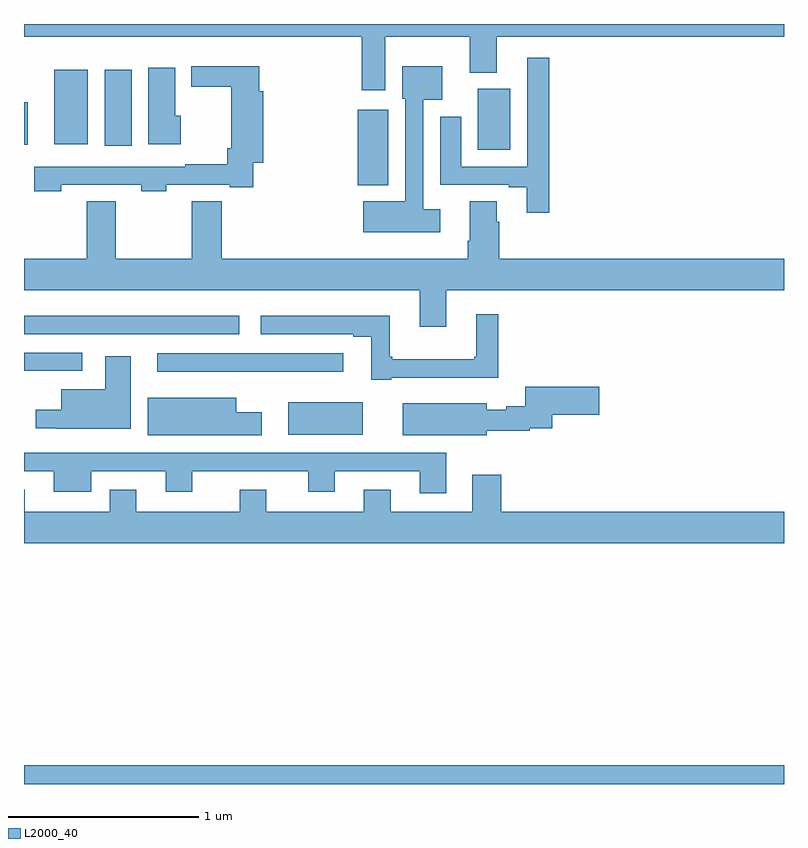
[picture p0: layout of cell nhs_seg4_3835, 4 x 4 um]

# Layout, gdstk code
import gdstk
lib = gdstk.Library(unit=1e-6, precision=1e-09)
def R(c, l, rs):  # rectangles x0, y0, x1, y1
    for r in rs: c.add(gdstk.rectangle(r[:2], r[2:], *l))
def P(c, l, *ps):  # polygons
    for p in ps: c.add(gdstk.Polygon(p, *l))
L2000_40 = (2000, 40)

nhs_seg4_3835 = lib.new_cell('nhs_seg4_3835')
R(nhs_seg4_3835, L2000_40, [(313,780.9,317,781), (314.39,782.738,314.782,782.908), (313.701,783.071,314.68,783.168), (313,783.075,313.306,783.171), (313,783.267,314.134,783.364), (314.756,784.052,314.917,784.45), (315.389,784.238,315.559,784.558), (313.424,784.26,313.567,784.66), (313,784.265,313.021,784.489), (313.16,784.268,313.336,784.66)])
P(nhs_seg4_3835, L2000_40, [(314.902,784.832),(315.347,784.832),(315.347,784.643),(315.487,784.643),(315.487,784.832),(317,784.832),(317,784.9),(313,784.9),(313,784.832),(314.777,784.832),(314.777,784.551),(314.902,784.551)],
  [(315.764,784.723),(315.648,784.723),(315.648,784.149),(315.301,784.149),(315.301,784.411),(315.191,784.411),(315.191,784.053),(315.551,784.053),(315.551,784.041),(315.647,784.041),(315.647,783.906),(315.764,783.906)],
  [(315.19,783.925),(315.102,783.925),(315.102,784.502),(315.202,784.502),(315.202,784.678),(314.99,784.678),(314.99,784.506),(315.006,784.506),(315.006,783.966),(314.786,783.966),(314.786,783.803),(315.19,783.803)],
  [(313.197,784.053),(313.617,784.053),(313.617,784.021),(313.749,784.021),(313.749,784.053),(314.084,784.053),(314.084,784.041),(314.207,784.041),(314.207,784.169),(314.258,784.169),(314.258,784.545),(314.237,784.545),(314.237,784.678),(313.881,784.678),(313.881,784.569),(314.09,784.569),(314.09,784.246),(314.071,784.246),(314.071,784.162),(313.849,784.162),(313.849,784.149),(313.053,784.149),(313.053,784.021),(313.197,784.021)],
  [(313.825,784.416),(313.795,784.416),(313.795,784.669),(313.655,784.669),(313.655,784.268),(313.825,784.268)],
  [(313.33,783.968),(313.33,783.664),(313,783.664),(313,783.5),(315.083,783.5),(315.083,783.306),(315.223,783.306),(315.223,783.5),(317,783.5),(317,783.664),(315.5,783.664),(315.5,783.86),(315.487,783.86),(315.487,783.968),(315.347,783.968),(315.347,783.76),(315.335,783.76),(315.335,783.664),(314.042,783.664),(314.042,783.968),(313.882,783.968),(313.882,783.664),(313.484,783.664),(313.484,783.968)],
  [(314.932,783.038),(315.497,783.038),(315.497,783.373),(315.38,783.373),(315.38,783.148),(315.369,783.148),(315.369,783.136),(314.938,783.136),(314.938,783.148),(314.926,783.148),(314.926,783.364),(314.247,783.364),(314.247,783.267),(314.732,783.267),(314.732,783.255),(314.828,783.255),(314.828,783.027),(314.932,783.027)],
  [(313.561,783.151),(313.427,783.151),(313.427,782.977),(313.196,782.977),(313.196,782.87),(313.063,782.87),(313.063,782.773),(313.171,782.773),(313.171,782.771),(313.561,782.771)],
  [(315.436,782.76),(315.662,782.76),(315.662,782.772),(315.779,782.772),(315.779,782.843),(316.027,782.843),(316.027,782.99),(315.638,782.99),(315.638,782.888),(315.537,782.888),(315.537,782.869),(315.436,782.869),(315.436,782.905),(314.993,782.905),(314.993,782.735),(315.436,782.735)],
  [(314.251,782.857),(314.116,782.857),(314.116,782.932),(313.652,782.932),(313.652,782.735),(314.251,782.735)],
  [(315.223,782.643),(313,782.643),(313,782.547),(313.157,782.547),(313.157,782.438),(313.354,782.438),(313.354,782.547),(313.745,782.547),(313.745,782.438),(313.885,782.438),(313.885,782.547),(314.495,782.547),(314.495,782.438),(314.635,782.438),(314.635,782.547),(315.083,782.547),(315.083,782.43),(315.223,782.43)],
  [(317,782.332),(315.512,782.332),(315.512,782.527),(315.359,782.527),(315.359,782.332),(314.929,782.332),(314.929,782.449),(314.789,782.449),(314.789,782.332),(314.275,782.332),(314.275,782.449),(314.135,782.449),(314.135,782.332),(313.591,782.332),(313.591,782.449),(313.451,782.449),(313.451,782.332),(313.003,782.332),(313.003,782.449),(313,782.449),(313,782.168),(317,782.168)])

lib.write_gds('nhs_seg4_3835.gds')
